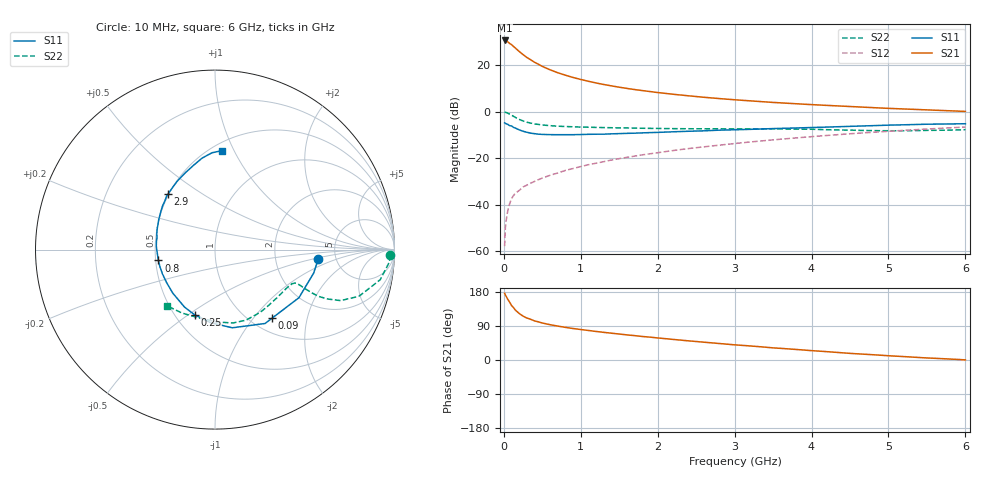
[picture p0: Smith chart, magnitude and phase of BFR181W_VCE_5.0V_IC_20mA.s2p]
! Infineon Technologies  Discrete & RF Semiconductors
! BFR181W
! VCE =  5.0 V,  IC =  20 mA
! Common Emitter S-Parameters:  Jan 2017
# GHz  S  MA  R  50
!  f  S11  S21  S12  S22
! GHz  MAG  ANG  MAG  ANG  MAG  ANG  MAG  ANG
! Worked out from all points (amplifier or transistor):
!   77 points, 10 MHz to 6 GHz, reference 50 ohm
!   highest |S21| = 30.6 dB at 10 MHz (marker M1)
!   |S21| within 3 dB of that: start of sweep to 140.7 MHz
!   unconditionally stable (mu >= 1): 613.8 MHz to 2.523 GHz
!   at 130 MHz: K = 0.43, MSG = 31.9 dB, |S12| = -35.8 dB
!   at 2.2 GHz: K = 1.03, MAG = 11.0 dB, |S12| = -16.7 dB
!   at 6 GHz: K = 0.83, MSG = 3.4 dB, |S12| = -6.6 dB
!   S11 on the Smith chart (normalised r, x): 10 MHz: 3.64, -0.56; 90 MHz: 1.23, -1.25; 250 MHz: 0.62, -0.53; 800 MHz: 0.52, -0.07; 2.9 GHz: 0.50, +0.37; 6 GHz: 0.57, +0.90
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0.01  0.5779 -5.1  33.92 176.2  0.0013 87.2  0.9731 -1.8
0.02  0.5651 -13.4  33.4 171.6  0.0033 89.9  0.9752 -3.9
0.05  0.5391 -29.8  31.75 160.4  0.0073 75.0  0.936 -10.3
0.09  0.4969 -50.4  28.21 147.5  0.0124 70.9  0.8608 -16.3
0.1  0.4973 -55.9  27.58 143.8  0.0137 70.3  0.8436 -17.9
0.15  0.4462 -77.5  23.3 131.8  0.0179 65.8  0.7555 -22.1
0.2  0.4081 -93.4  19.63 122.6  0.0204 63.2  0.6848 -23.7
0.25  0.381 -107.2  16.84 115.8  0.0243 63.1  0.6337 -24.3
0.3  0.3623 -118.0  14.59 110.7  0.0266 63.5  0.5949 -24.1
0.4  0.3381 -134.0  11.51 103.1  0.032 65.4  0.5475 -23.5
0.5  0.3261 -146.1  9.406 97.6  0.0377 67.6  0.52 -22.9
0.6  0.3224 -155.1  7.964 93.2  0.0432 67.9  0.5026 -22.6
0.7  0.3214 -162.4  6.891 89.5  0.0484 71.0  0.4899 -22.5
0.8  0.3213 -169.2  6.09 86.1  0.055 71.3  0.4816 -22.8
1.1  0.3277 176.4  4.503 77.9  0.0729 73.1  0.4656 -24.9
1.5  0.3392 162.4  3.361 68.5  0.0985 74.1  0.4505 -29.4
2.1  0.3654 146.4  2.477 56.3  0.1393 72.8  0.4356 -39.2
2.9  0.4061 130.0  1.862 41.8  0.1995 68.9  0.4293 -54.8
3.1  0.4143 126.2  1.761 38.6  0.2158 67.6  0.4282 -58.7
4.1  0.4634 109.7  1.396 23.4  0.3005 59.9  0.4161 -78.6
5.1  0.5197 96.6  1.164 10.1  0.3892 50.4  0.3903 -105.3
6  0.5526 86.0  1.017 0.4  0.4694 40.7  0.412 -130.6
